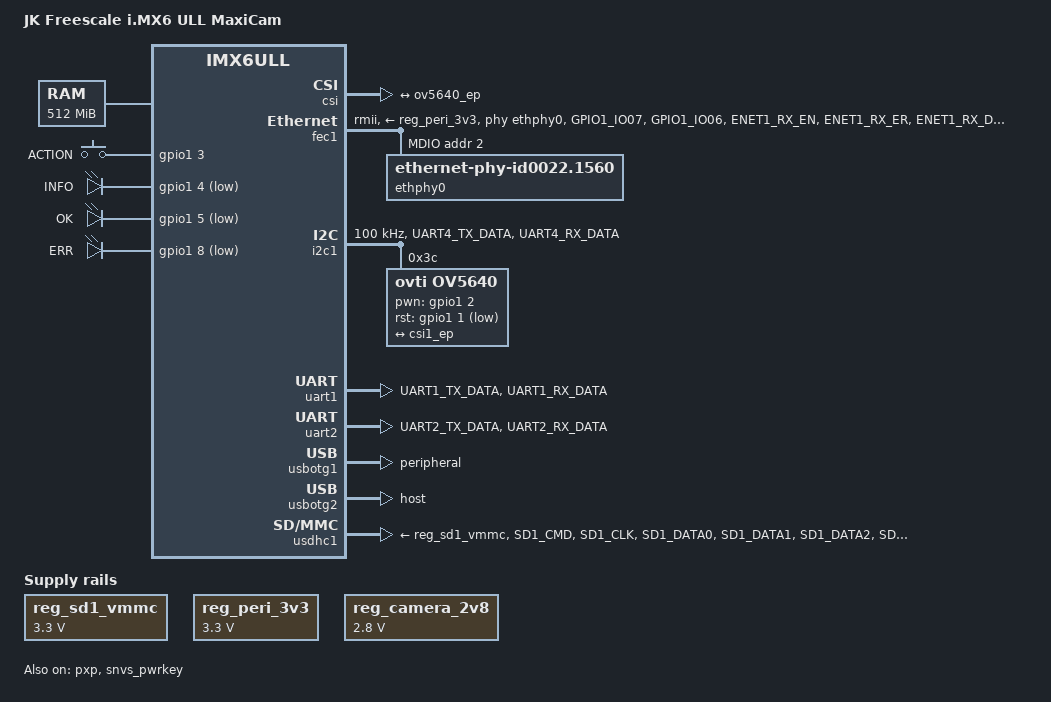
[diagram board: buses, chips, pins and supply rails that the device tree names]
/dts-v1/;

#include "nxp/imx/imx6ull.dtsi"
/* #include "nxp/imx/imx6ul-14x14-evk.dtsi" */

#include <dt-bindings/media/video-interfaces.h>

/ {
	model = "JK Freescale i.MX6 ULL MaxiCam";
	compatible = "jk,imx6ull-maxicam", "fsl,imx6ull-14x14-evk", "fsl,imx6ull";

	chosen {
		stdout-path = &uart1;
	};

	memory@80000000 {
		device_type = "memory";
		reg = <0x80000000 0x20000000>;
	};

	reserved-memory {
		#address-cells = <1>;
		#size-cells = <1>;
		ranges;

		linux,cma {
			compatible = "shared-dma-pool";
			reusable;
			size = <0xa000000>;
			linux,cma-default;
		};
	};

	pxp_v4l2 {
		compatible = "fsl,imx6ul-pxp-v4l2", "fsl,imx6sx-pxp-v4l2", "fsl,imx6sl-pxp-v4l2";
		status = "okay";
	};

	reg_sd1_vmmc: regulator-sd1-vmmc {
		compatible = "regulator-fixed";
		regulator-name = "VSD_3V3";
		regulator-min-microvolt = <3300000>;
		regulator-max-microvolt = <3300000>;
        regulator-always-on;
	};

	reg_peri_3v3: regulator-peri-3v3 {
		compatible = "regulator-fixed";
		regulator-name = "VPERI_3V3";
		regulator-min-microvolt = <3300000>;
		regulator-max-microvolt = <3300000>;
		/*
		 * If you want to want to make this dynamic please
		 * check schematics and test all affected peripherals:
		 *
		 * - sensors
		 * - ethernet phy
		 * - can
		 * - bluetooth
		 * - wm8960 audio codec
		 * - ov5640 camera
		 */
		regulator-always-on;
	};

    reg_camera_2v8: regulator-camera-2v8 {
        compatible = "regulator-fixed";
        regulator-name = "V2P8_CAM";
        regulator-min-microvolt = <2800000>;
        regulator-max-microvolt = <2800000>;
        regulator-always-on;
    };

    gpio-keys {
		compatible = "gpio-keys";
		pinctrl-names = "default";
		pinctrl-0 = <&pinctrl_gpio_keys>;

		button-mode {
			label = "ACTION";
			gpios = <&gpio1 3 GPIO_ACTIVE_HIGH>;
			linux,code = <KEY_PROG1>;
			wakeup-source;
		};
	};

	leds {
		compatible = "gpio-leds";
		pinctrl-names = "default";
		pinctrl-0 = <&pinctrl_gpio_leds>;

		led-info {
			label = "INFO";
			gpios = <&gpio1 4 GPIO_ACTIVE_LOW>;
			linux,default-trigger = "heartbeat";
		};

		led-ok {
			label = "OK";
			gpios = <&gpio1 5 GPIO_ACTIVE_LOW>;
		};

		led-err {
			label = "ERR";
			gpios = <&gpio1 8 GPIO_ACTIVE_LOW>;
		};
	};
};

&clks {
	assigned-clocks = <&clks IMX6UL_CLK_PLL3_PFD2>,
			  <&clks IMX6UL_CLK_PLL4_AUDIO_DIV>;
	assigned-clock-rates = <320000000>, <786432000>;
};

&csi {
	status = "okay";

	port {
		csi1_ep: endpoint {
			remote-endpoint = <&ov5640_ep>;
		};
	};
};

&i2c2 {
	status = "disabled";
};

&fec1 {
	pinctrl-names = "default";
	pinctrl-0 = <&pinctrl_enet1 &pinctrl_enet1_reset>;
	phy-mode = "rmii";
	phy-handle = <&ethphy0>;
	phy-supply = <&reg_peri_3v3>;

    /* Added reset GPIO: GPIO1_IO00, active low */
	reset-gpios = <&gpio1 0 GPIO_ACTIVE_LOW>;

	status = "okay";

    mdio {
		#address-cells = <1>;
		#size-cells = <0>;

		ethphy0: ethernet-phy@2 {
			compatible = "ethernet-phy-id0022.1560";
			reg = <2>;
			micrel,led-mode = <1>;
			clocks = <&clks IMX6UL_CLK_ENET_REF>;
			clock-names = "rmii-ref";
		};
	};
};

&fec2 {
	status = "disabled";
};

&can1 {
	status = "disabled";
};

&can2 {
	status = "disabled";
};

&i2c1 {
	clock-frequency = <100000>;
	pinctrl-names = "default";
	pinctrl-0 = <&pinctrl_i2c1>;
	status = "okay";

    ov5640: ov5640@3c {
		compatible = "ovti,ov5640";
		reg = <0x3c>;
		pinctrl-names = "default";
		pinctrl-0 = <&pinctrl_csi1 &pinctrl_camera_clock>;
		clocks = <&clks IMX6UL_CLK_CSI>;
		clock-names = "csi_mclk";
		pwn-gpios = <&gpio1 2 GPIO_ACTIVE_HIGH>;
		rst-gpios = <&gpio1 1 GPIO_ACTIVE_LOW>;
		csi_id = <0>;
		mclk = <24000000>;
		mclk_source = <0>;
		status = "okay";
		port {
			ov5640_ep: endpoint {
				remote-endpoint = <&csi1_ep>;
			};
		};
	};
};

&lcdif {
	status = "disabled";
};

&pwm1 {
	status = "disabled";
};

&pxp {
	status = "okay";
};

&qspi {
	status = "disabled";
};

&sai2 {
	status = "disabled";
};

&snvs_poweroff {
	status = "okay";
};

&snvs_pwrkey {
	status = "okay";
};

&sim2 {
	status = "disabled";
};

&tsc {
	status = "disabled";
};

&uart1 {
	pinctrl-names = "default";
	pinctrl-0 = <&pinctrl_uart1>;
	status = "okay";
};

&uart2 {
	pinctrl-names = "default";
	pinctrl-0 = <&pinctrl_uart2>;
	status = "okay";
};

&usbotg1 {
	/* dr_mode = "otg"; */
    dr_mode = "peripheral"; /* Always device */
	pinctrl-names = "default";
	/* pinctrl-0 = <&pinctrl_usb_otg1>; */
	status = "okay";
};

&usbotg2 {
	dr_mode = "host";
	disable-over-current;
	status = "okay";
};

&usbphy1 {
	fsl,tx-d-cal = <106>;
};

&usbphy2 {
	fsl,tx-d-cal = <106>;
};

&usdhc1 {
	pinctrl-names = "default", "state_100mhz", "state_200mhz";
	pinctrl-0 = <&pinctrl_usdhc1>;
	pinctrl-1 = <&pinctrl_usdhc1_100mhz>;
	pinctrl-2 = <&pinctrl_usdhc1_200mhz>;
	cd-gpios = <&gpio1 19 GPIO_ACTIVE_LOW>;
	keep-power-in-suspend;
	wakeup-source;
	vmmc-supply = <&reg_sd1_vmmc>;
	status = "okay";
};

&usdhc2 {
	status = "disabled";
};

&wdog1 {
	pinctrl-names = "default";
	pinctrl-0 = <&pinctrl_wdog>;
	fsl,ext-reset-output;
};

&iomuxc {
	pinctrl-names = "default";

	pinctrl_camera_clock: cameraclockgrp {
		fsl,pins = <
			MX6UL_PAD_CSI_MCLK__CSI_MCLK		0x1b088
		>;
	};

	pinctrl_csi1: csi1grp {
		fsl,pins = <
			MX6UL_PAD_CSI_PIXCLK__CSI_PIXCLK	0x1b088
			MX6UL_PAD_CSI_VSYNC__CSI_VSYNC		0x1b088
			MX6UL_PAD_CSI_HSYNC__CSI_HSYNC		0x1b088
			MX6UL_PAD_CSI_DATA00__CSI_DATA02	0x1b088
			MX6UL_PAD_CSI_DATA01__CSI_DATA03	0x1b088
			MX6UL_PAD_CSI_DATA02__CSI_DATA04	0x1b088
			MX6UL_PAD_CSI_DATA03__CSI_DATA05	0x1b088
			MX6UL_PAD_CSI_DATA04__CSI_DATA06	0x1b088
			MX6UL_PAD_CSI_DATA05__CSI_DATA07	0x1b088
			MX6UL_PAD_CSI_DATA06__CSI_DATA08	0x1b088
			MX6UL_PAD_CSI_DATA07__CSI_DATA09	0x1b088
		>;
	};

	pinctrl_enet1: enet1grp {
		fsl,pins = <
			MX6UL_PAD_GPIO1_IO07__ENET1_MDC		0x1b0b0
			MX6UL_PAD_GPIO1_IO06__ENET1_MDIO	0x1b0b0
			MX6UL_PAD_ENET1_RX_EN__ENET1_RX_EN	0x1b0b0
			MX6UL_PAD_ENET1_RX_ER__ENET1_RX_ER	0x1b0b0
			MX6UL_PAD_ENET1_RX_DATA0__ENET1_RDATA00	0x1b0b0
			MX6UL_PAD_ENET1_RX_DATA1__ENET1_RDATA01	0x1b0b0
			MX6UL_PAD_ENET1_TX_EN__ENET1_TX_EN	0x1b0b0
			MX6UL_PAD_ENET1_TX_DATA0__ENET1_TDATA00	0x1b0b0
			MX6UL_PAD_ENET1_TX_DATA1__ENET1_TDATA01	0x1b0b0
			MX6UL_PAD_ENET1_TX_CLK__ENET1_REF_CLK1	0x4001b031
		>;
	};

	pinctrl_enet2: enet2grp {
		fsl,pins = <
			MX6UL_PAD_ENET2_RX_EN__ENET2_RX_EN	0x1b0b0
			MX6UL_PAD_ENET2_RX_ER__ENET2_RX_ER	0x1b0b0
			MX6UL_PAD_ENET2_RX_DATA0__ENET2_RDATA00	0x1b0b0
			MX6UL_PAD_ENET2_RX_DATA1__ENET2_RDATA01	0x1b0b0
			MX6UL_PAD_ENET2_TX_EN__ENET2_TX_EN	0x1b0b0
			MX6UL_PAD_ENET2_TX_DATA0__ENET2_TDATA00	0x1b0b0
			MX6UL_PAD_ENET2_TX_DATA1__ENET2_TDATA01	0x1b0b0
			MX6UL_PAD_ENET2_TX_CLK__ENET2_REF_CLK2	0x4001b031
		>;
	};

	pinctrl_flexcan1: flexcan1grp {
		fsl,pins = <
			MX6UL_PAD_UART3_RTS_B__FLEXCAN1_RX	0x1b020
			MX6UL_PAD_UART3_CTS_B__FLEXCAN1_TX	0x1b020
		>;
	};

	pinctrl_flexcan2: flexcan2grp {
		fsl,pins = <
			MX6UL_PAD_UART2_RTS_B__FLEXCAN2_RX	0x1b020
			MX6UL_PAD_UART2_CTS_B__FLEXCAN2_TX	0x1b020
		>;
	};

	pinctrl_i2c1: i2c1grp {
		fsl,pins = <
			MX6UL_PAD_UART4_TX_DATA__I2C1_SCL 0x4001b8b0
			MX6UL_PAD_UART4_RX_DATA__I2C1_SDA 0x4001b8b0
		>;
	};

	pinctrl_i2c2: i2c2grp {
		fsl,pins = <
			MX6UL_PAD_UART5_TX_DATA__I2C2_SCL 0x4001b8b0
			MX6UL_PAD_UART5_RX_DATA__I2C2_SDA 0x4001b8b0
		>;
	};

	pinctrl_lcdif_dat: lcdifdatgrp {
		fsl,pins = <
			MX6UL_PAD_LCD_DATA00__LCDIF_DATA00  0x79
			MX6UL_PAD_LCD_DATA01__LCDIF_DATA01  0x79
			MX6UL_PAD_LCD_DATA02__LCDIF_DATA02  0x79
			MX6UL_PAD_LCD_DATA03__LCDIF_DATA03  0x79
			MX6UL_PAD_LCD_DATA04__LCDIF_DATA04  0x79
			MX6UL_PAD_LCD_DATA05__LCDIF_DATA05  0x79
			MX6UL_PAD_LCD_DATA06__LCDIF_DATA06  0x79
			MX6UL_PAD_LCD_DATA07__LCDIF_DATA07  0x79
			MX6UL_PAD_LCD_DATA08__LCDIF_DATA08  0x79
			MX6UL_PAD_LCD_DATA09__LCDIF_DATA09  0x79
			MX6UL_PAD_LCD_DATA10__LCDIF_DATA10  0x79
			MX6UL_PAD_LCD_DATA11__LCDIF_DATA11  0x79
			MX6UL_PAD_LCD_DATA12__LCDIF_DATA12  0x79
			MX6UL_PAD_LCD_DATA13__LCDIF_DATA13  0x79
			MX6UL_PAD_LCD_DATA14__LCDIF_DATA14  0x79
			MX6UL_PAD_LCD_DATA15__LCDIF_DATA15  0x79
			MX6UL_PAD_LCD_DATA16__LCDIF_DATA16  0x79
			MX6UL_PAD_LCD_DATA17__LCDIF_DATA17  0x79
			MX6UL_PAD_LCD_DATA18__LCDIF_DATA18  0x79
			MX6UL_PAD_LCD_DATA19__LCDIF_DATA19  0x79
			MX6UL_PAD_LCD_DATA20__LCDIF_DATA20  0x79
			MX6UL_PAD_LCD_DATA21__LCDIF_DATA21  0x79
			MX6UL_PAD_LCD_DATA22__LCDIF_DATA22  0x79
			MX6UL_PAD_LCD_DATA23__LCDIF_DATA23  0x79
		>;
	};

	pinctrl_lcdif_ctrl: lcdifctrlgrp {
		fsl,pins = <
			MX6UL_PAD_LCD_CLK__LCDIF_CLK	    0x79
			MX6UL_PAD_LCD_ENABLE__LCDIF_ENABLE  0x79
			MX6UL_PAD_LCD_HSYNC__LCDIF_HSYNC    0x79
			MX6UL_PAD_LCD_VSYNC__LCDIF_VSYNC    0x79
			/* used for lcd reset */
			MX6UL_PAD_SNVS_TAMPER9__GPIO5_IO09  0x79
		>;
	};

	pinctrl_qspi: qspigrp {
		fsl,pins = <
			MX6UL_PAD_NAND_WP_B__QSPI_A_SCLK	0x70a1
			MX6UL_PAD_NAND_READY_B__QSPI_A_DATA00	0x70a1
			MX6UL_PAD_NAND_CE0_B__QSPI_A_DATA01	0x70a1
			MX6UL_PAD_NAND_CE1_B__QSPI_A_DATA02	0x70a1
			MX6UL_PAD_NAND_CLE__QSPI_A_DATA03	0x70a1
			MX6UL_PAD_NAND_DQS__QSPI_A_SS0_B	0x70a1
		>;
	};

	pinctrl_sai2: sai2grp {
		fsl,pins = <
			MX6UL_PAD_JTAG_TDI__SAI2_TX_BCLK	0x17088
			MX6UL_PAD_JTAG_TDO__SAI2_TX_SYNC	0x17088
			MX6UL_PAD_JTAG_TRST_B__SAI2_TX_DATA	0x11088
			MX6UL_PAD_JTAG_TCK__SAI2_RX_DATA	0x11088
			MX6UL_PAD_JTAG_TMS__SAI2_MCLK		0x17088
			MX6UL_PAD_SNVS_TAMPER4__GPIO5_IO04	0x17059
		>;
	};

	pinctrl_peri_3v3: peri3v3grp {
		fsl,pins = <
			MX6UL_PAD_SNVS_TAMPER2__GPIO5_IO02	0x1b0b0
		>;
	};

	pinctrl_pwm1: pwm1grp {
		fsl,pins = <
			MX6UL_PAD_GPIO1_IO08__PWM1_OUT   0x110b0
		>;
	};

	pinctrl_sim2: sim2grp {
		fsl,pins = <
			MX6UL_PAD_CSI_DATA03__SIM2_PORT1_PD		0xb808
			MX6UL_PAD_CSI_DATA04__SIM2_PORT1_CLK		0x31
			MX6UL_PAD_CSI_DATA05__SIM2_PORT1_RST_B		0xb808
			MX6UL_PAD_CSI_DATA06__SIM2_PORT1_SVEN		0xb808
			MX6UL_PAD_CSI_DATA07__SIM2_PORT1_TRXD		0xb809
			MX6UL_PAD_CSI_DATA02__GPIO4_IO23		0x3008
		>;
	};

	pinctrl_spi4: spi4grp {
		fsl,pins = <
			MX6UL_PAD_BOOT_MODE0__GPIO5_IO10	0x70a1
			MX6UL_PAD_BOOT_MODE1__GPIO5_IO11	0x70a1
			MX6UL_PAD_SNVS_TAMPER7__GPIO5_IO07	0x70a1
			MX6UL_PAD_SNVS_TAMPER8__GPIO5_IO08	0x80000000
		>;
	};

	pinctrl_tsc: tscgrp {
		fsl,pins = <
			MX6UL_PAD_GPIO1_IO01__GPIO1_IO01		0xb0
			MX6UL_PAD_GPIO1_IO02__GPIO1_IO02		0xb0
			MX6UL_PAD_GPIO1_IO03__GPIO1_IO03		0xb0
			MX6UL_PAD_GPIO1_IO04__GPIO1_IO04		0xb0
		>;
	};

	pinctrl_uart1: uart1grp {
		fsl,pins = <
			MX6UL_PAD_UART1_TX_DATA__UART1_DCE_TX 0x1b0b1
			MX6UL_PAD_UART1_RX_DATA__UART1_DCE_RX 0x1b0b1
		>;
	};

	pinctrl_uart2: uart2grp {
		fsl,pins = <
			MX6UL_PAD_UART2_TX_DATA__UART2_DCE_TX	0x1b0b1
			MX6UL_PAD_UART2_RX_DATA__UART2_DCE_RX	0x1b0b1
		>;
	};

	pinctrl_usb_otg1: usbotg1grp {
		fsl,pins = <
			MX6UL_PAD_GPIO1_IO00__ANATOP_OTG1_ID	0x17059
		>;
	};

	pinctrl_usdhc1: usdhc1grp {
		fsl,pins = <
			MX6UL_PAD_SD1_CMD__USDHC1_CMD     	0x17059
			MX6UL_PAD_SD1_CLK__USDHC1_CLK		0x10071
			MX6UL_PAD_SD1_DATA0__USDHC1_DATA0 	0x17059
			MX6UL_PAD_SD1_DATA1__USDHC1_DATA1 	0x17059
			MX6UL_PAD_SD1_DATA2__USDHC1_DATA2 	0x17059
			MX6UL_PAD_SD1_DATA3__USDHC1_DATA3 	0x17059
			MX6UL_PAD_UART1_RTS_B__GPIO1_IO19       0x17059 /* SD1 CD */
			MX6UL_PAD_GPIO1_IO05__USDHC1_VSELECT    0x17059 /* SD1 VSELECT */
			MX6UL_PAD_GPIO1_IO09__GPIO1_IO09        0x17059 /* SD1 RESET */
		>;
	};

	pinctrl_usdhc1_100mhz: usdhc1-100mhz-grp {
		fsl,pins = <
			MX6UL_PAD_SD1_CMD__USDHC1_CMD     0x170b9
			MX6UL_PAD_SD1_CLK__USDHC1_CLK     0x100b9
			MX6UL_PAD_SD1_DATA0__USDHC1_DATA0 0x170b9
			MX6UL_PAD_SD1_DATA1__USDHC1_DATA1 0x170b9
			MX6UL_PAD_SD1_DATA2__USDHC1_DATA2 0x170b9
			MX6UL_PAD_SD1_DATA3__USDHC1_DATA3 0x170b9

		>;
	};

	pinctrl_usdhc1_200mhz: usdhc1-200mhz-grp {
		fsl,pins = <
			MX6UL_PAD_SD1_CMD__USDHC1_CMD     0x170f9
			MX6UL_PAD_SD1_CLK__USDHC1_CLK     0x100f9
			MX6UL_PAD_SD1_DATA0__USDHC1_DATA0 0x170f9
			MX6UL_PAD_SD1_DATA1__USDHC1_DATA1 0x170f9
			MX6UL_PAD_SD1_DATA2__USDHC1_DATA2 0x170f9
			MX6UL_PAD_SD1_DATA3__USDHC1_DATA3 0x170f9
		>;
	};

	pinctrl_usdhc2: usdhc2grp {
		fsl,pins = <
			MX6UL_PAD_NAND_RE_B__USDHC2_CLK     0x17059
			MX6UL_PAD_NAND_WE_B__USDHC2_CMD     0x17059
			MX6UL_PAD_NAND_DATA00__USDHC2_DATA0 0x17059
			MX6UL_PAD_NAND_DATA01__USDHC2_DATA1 0x17059
			MX6UL_PAD_NAND_DATA02__USDHC2_DATA2 0x17059
			MX6UL_PAD_NAND_DATA03__USDHC2_DATA3 0x17059
		>;
	};

	pinctrl_usdhc2_8bit: usdhc2grp_8bit {
		fsl,pins = <
			MX6UL_PAD_NAND_RE_B__USDHC2_CLK     0x10069
			MX6UL_PAD_NAND_WE_B__USDHC2_CMD     0x17059
			MX6UL_PAD_NAND_DATA00__USDHC2_DATA0 0x17059
			MX6UL_PAD_NAND_DATA01__USDHC2_DATA1 0x17059
			MX6UL_PAD_NAND_DATA02__USDHC2_DATA2 0x17059
			MX6UL_PAD_NAND_DATA03__USDHC2_DATA3 0x17059
			MX6UL_PAD_NAND_DATA04__USDHC2_DATA4 0x17059
			MX6UL_PAD_NAND_DATA05__USDHC2_DATA5 0x17059
			MX6UL_PAD_NAND_DATA06__USDHC2_DATA6 0x17059
			MX6UL_PAD_NAND_DATA07__USDHC2_DATA7 0x17059
		>;
	};

	pinctrl_usdhc2_8bit_100mhz: usdhc2grp_8bit_100mhz {
		fsl,pins = <
			MX6UL_PAD_NAND_RE_B__USDHC2_CLK     0x100b9
			MX6UL_PAD_NAND_WE_B__USDHC2_CMD     0x170b9
			MX6UL_PAD_NAND_DATA00__USDHC2_DATA0 0x170b9
			MX6UL_PAD_NAND_DATA01__USDHC2_DATA1 0x170b9
			MX6UL_PAD_NAND_DATA02__USDHC2_DATA2 0x170b9
			MX6UL_PAD_NAND_DATA03__USDHC2_DATA3 0x170b9
			MX6UL_PAD_NAND_DATA04__USDHC2_DATA4 0x170b9
			MX6UL_PAD_NAND_DATA05__USDHC2_DATA5 0x170b9
			MX6UL_PAD_NAND_DATA06__USDHC2_DATA6 0x170b9
			MX6UL_PAD_NAND_DATA07__USDHC2_DATA7 0x170b9
		>;
	};

	pinctrl_usdhc2_8bit_200mhz: usdhc2grp_8bit_200mhz {
		fsl,pins = <
			MX6UL_PAD_NAND_RE_B__USDHC2_CLK     0x100f9
			MX6UL_PAD_NAND_WE_B__USDHC2_CMD     0x170f9
			MX6UL_PAD_NAND_DATA00__USDHC2_DATA0 0x170f9
			MX6UL_PAD_NAND_DATA01__USDHC2_DATA1 0x170f9
			MX6UL_PAD_NAND_DATA02__USDHC2_DATA2 0x170f9
			MX6UL_PAD_NAND_DATA03__USDHC2_DATA3 0x170f9
			MX6UL_PAD_NAND_DATA04__USDHC2_DATA4 0x170f9
			MX6UL_PAD_NAND_DATA05__USDHC2_DATA5 0x170f9
			MX6UL_PAD_NAND_DATA06__USDHC2_DATA6 0x170f9
			MX6UL_PAD_NAND_DATA07__USDHC2_DATA7 0x170f9
		>;
	};

	pinctrl_wdog: wdoggrp {
		fsl,pins = <
			MX6UL_PAD_LCD_RESET__WDOG1_WDOG_ANY    0x30b0
		>;
	};

    pinctrl_enet1_reset: enet1resetgrp {
        fsl,pins = <
            MX6UL_PAD_GPIO1_IO00__GPIO1_IO00 0x1b0b0 /* No pull (output mode), normal drive */
        >;
    };

    pinctrl_gpio_keys: gpiokeysgrp {
		fsl,pins = <
			MX6UL_PAD_GPIO1_IO03__GPIO1_IO03 0x1b010 /* Pull-down enabled, medium drive, hysteresis on. */
		>;
	};

    pinctrl_gpio_leds: gpioledsgrp {
        fsl,pins = <
            MX6UL_PAD_GPIO1_IO04__GPIO1_IO04 0x1b0b0 /* No pull (output mode), normal drive */
            MX6UL_PAD_GPIO1_IO05__GPIO1_IO05 0x1b0b0
            MX6UL_PAD_GPIO1_IO08__GPIO1_IO08 0x1b0b0
        >;
    };
};

/delete-node/ &sim2;
